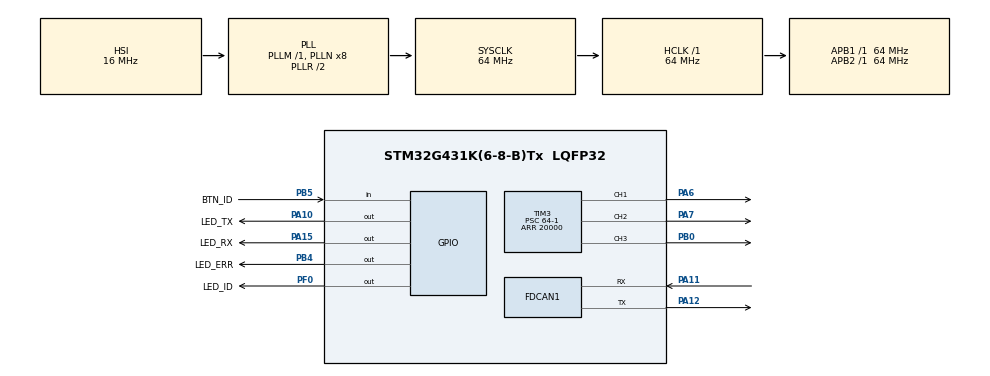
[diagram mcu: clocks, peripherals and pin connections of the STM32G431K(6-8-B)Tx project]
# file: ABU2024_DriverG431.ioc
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FDCAN1.AutoRetransmission=ENABLE
FDCAN1.CalculateBaudRateNominal=1000000
FDCAN1.CalculateTimeBitNominal=1000
FDCAN1.CalculateTimeQuantumNominal=62.5
FDCAN1.DataTimeSeg1=1
FDCAN1.DataTimeSeg2=1
FDCAN1.NominalPrescaler=4
FDCAN1.NominalTimeSeg1=11
FDCAN1.NominalTimeSeg2=4
FDCAN1.StdFiltersNbr=2
Mcu.Family=STM32G4
Mcu.Name=STM32G431K(6-8-B)Tx
Mcu.Package=LQFP32
NVIC.FDCAN1_IT0_IRQn=true\:0\:0\:false\:false\:true\:true\:true\:true
NVIC.FDCAN1_IT1_IRQn=true\:0\:0\:false\:false\:true\:true\:true\:true
NVIC.PriorityGroup=NVIC_PRIORITYGROUP_4
NVIC.TIM7_IRQn=true\:0\:0\:false\:false\:true\:true\:true\:true
PA10.GPIO_Label=LED_TX
PA10.Signal=GPIO_Output
PA11.GPIO_Speed=GPIO_SPEED_FREQ_HIGH
PA11.Mode=FDCAN_Activate
PA11.Signal=FDCAN1_RX
PA12.GPIO_Speed=GPIO_SPEED_FREQ_HIGH
PA12.Mode=FDCAN_Activate
PA12.Signal=FDCAN1_TX
PA13.Mode=Serial_Wire
PA13.Signal=SYS_JTMS-SWDIO
PA14.Mode=Serial_Wire
PA14.Signal=SYS_JTCK-SWCLK
PA15.GPIO_Label=LED_RX
PA15.Signal=GPIO_Output
PA6.Signal=S_TIM3_CH1
PA7.Signal=S_TIM3_CH2
PA8.Signal=S_TIM1_CH1
PA9.Signal=S_TIM1_CH2
PB0.Signal=S_TIM3_CH3
PB4.GPIO_Label=LED_ERR
PB4.Signal=GPIO_Output
PB5.GPIO_Label=BTN_ID
PB5.GPIO_PuPd=GPIO_PULLUP
PB5.Signal=GPIO_Input
PF0-OSC_IN.GPIO_Label=LED_ID
PF0-OSC_IN.Signal=GPIO_Output
ProjectManager.HeapSize=0x200
ProjectManager.StackSize=0x400
ProjectManager.TargetToolchain=STM32CubeIDE
RCC.ADC12Freq_Value=64000000
RCC.AHBFreq_Value=64000000
RCC.APB1Freq_Value=64000000
RCC.APB1TimFreq_Value=64000000
RCC.APB2Freq_Value=64000000
RCC.APB2TimFreq_Value=64000000
RCC.CortexFreq_Value=64000000
RCC.EXTERNAL_CLOCK_VALUE=12288000
RCC.HCLKFreq_Value=64000000
RCC.HSE_VALUE=8000000
RCC.HSI48_VALUE=48000000
RCC.HSI_VALUE=16000000
RCC.LSE_VALUE=32768
RCC.SYSCLKFreq_VALUE=64000000
RCC.SYSCLKSource=RCC_SYSCLKSOURCE_PLLCLK
RCC.USBFreq_Value=64000000
RCC.VCOOutputFreq_Value=128000000
SH.S_TIM1_CH1.0=TIM1_CH1
SH.S_TIM1_CH2.0=TIM1_CH2
SH.S_TIM3_CH1.0=TIM3_CH1,PWM Generation1 CH1
SH.S_TIM3_CH2.0=TIM3_CH2,PWM Generation2 CH2
SH.S_TIM3_CH3.0=TIM3_CH3,PWM Generation3 CH3
TIM3.Channel-PWM\ Generation1\ CH1=TIM_CHANNEL_1
TIM3.Channel-PWM\ Generation2\ CH2=TIM_CHANNEL_2
TIM3.Channel-PWM\ Generation3\ CH3=TIM_CHANNEL_3
TIM3.PeriodNoDither=20000
TIM3.Prescaler=64-1
TIM3.PulseNoDither_1=1000
TIM3.PulseNoDither_2=1000
TIM3.PulseNoDither_3=1000
TIM7.PeriodNoDither=1000
TIM7.Prescaler=64-1
VP_SYS_VS_DBSignals.Mode=DisableDeadBatterySignals
VP_TIM7_VS_ClockSourceINT.Mode=Enable_Timer
board=custom

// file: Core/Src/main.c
/* USER CODE BEGIN Header */
/**
  ******************************************************************************
  * @file           : main.c
  * @brief          : Main program body
  ******************************************************************************
  * @attention
  *
  * Copyright (c) 2023 STMicroelectronics.
  * All rights reserved.
  *
  * This software is licensed under terms that can be found in the LICENSE file
  * in the root directory of this software component.
  * If no LICENSE file comes with this software, it is provided AS-IS.
  *
  ******************************************************************************
  */
/* USER CODE END Header */
#include "main.h"
#include "fdcan.h"
#include "tim.h"
#include "gpio.h"

/* USER CODE BEGIN Includes */
#include "can_smbus/can_smbus.hpp"
#include "user_task.h"

/* USER CODE END Includes */

void SystemClock_Config(void);

/* USER CODE BEGIN 0 */
void HAL_TIM_PeriodElapsedCallback(TIM_HandleTypeDef *htim)
{
  __CSTimer_interrupt(htim);
}
/* USER CODE END 0 */

int main(void)
{

  /* MCU Configuration--------------------------------------------------------*/

  /* Reset of all peripherals, Initializes the Flash interface and the Systick. */
  HAL_Init();

  /* Configure the system clock */
  SystemClock_Config();

  /* USER CODE BEGIN SysInit */
  MX_GPIO_Init();
  CSId_init();
  /* USER CODE END SysInit */

  /* Initialize all configured peripherals */
  MX_GPIO_Init();
  MX_FDCAN1_Init();
  MX_TIM7_Init();
  MX_TIM3_Init();
  /* USER CODE BEGIN 2 */
  CSLed_init();
  CSTimer_init();
  CSIo_init();
  UserTask_setup();
  /* USER CODE END 2 */

  /* Infinite loop */
  /* USER CODE BEGIN WHILE */
  while (1)
  {
    CSType_bool_t is_safety_on = CSIo_isSafetyOn();
    if(is_safety_on == 0)
    {
      UserTask_loop();
    }else{
      UserTask_unsafeLoop();
    }

    CSLed_process(is_safety_on);
    /* USER CODE END WHILE */

  }
}

void SystemClock_Config(void)
{
  RCC_OscInitTypeDef RCC_OscInitStruct = {0};
  RCC_ClkInitTypeDef RCC_ClkInitStruct = {0};

  /** Configure the main internal regulator output voltage
  */
  HAL_PWREx_ControlVoltageScaling(PWR_REGULATOR_VOLTAGE_SCALE1);

  /** Initializes the RCC Oscillators according to the specified parameters
  * in the RCC_OscInitTypeDef structure.
  */
  RCC_OscInitStruct.OscillatorType = RCC_OSCILLATORTYPE_HSI;
  RCC_OscInitStruct.HSIState = RCC_HSI_ON;
  RCC_OscInitStruct.HSICalibrationValue = RCC_HSICALIBRATION_DEFAULT;
  RCC_OscInitStruct.PLL.PLLState = RCC_PLL_ON;
  RCC_OscInitStruct.PLL.PLLSource = RCC_PLLSOURCE_HSI;
  RCC_OscInitStruct.PLL.PLLM = RCC_PLLM_DIV1;
  RCC_OscInitStruct.PLL.PLLN = 8;
  RCC_OscInitStruct.PLL.PLLP = RCC_PLLP_DIV2;
  RCC_OscInitStruct.PLL.PLLQ = RCC_PLLQ_DIV2;
  RCC_OscInitStruct.PLL.PLLR = RCC_PLLR_DIV2;
  if (HAL_RCC_OscConfig(&RCC_OscInitStruct) != HAL_OK)
  {
    Error_Handler();
  }

  /** Initializes the CPU, AHB and APB buses clocks
  */
  RCC_ClkInitStruct.ClockType = RCC_CLOCKTYPE_HCLK|RCC_CLOCKTYPE_SYSCLK
                              |RCC_CLOCKTYPE_PCLK1|RCC_CLOCKTYPE_PCLK2;
  RCC_ClkInitStruct.SYSCLKSource = RCC_SYSCLKSOURCE_PLLCLK;
  RCC_ClkInitStruct.AHBCLKDivider = RCC_SYSCLK_DIV1;
  RCC_ClkInitStruct.APB1CLKDivider = RCC_HCLK_DIV1;
  RCC_ClkInitStruct.APB2CLKDivider = RCC_HCLK_DIV1;

  if (HAL_RCC_ClockConfig(&RCC_ClkInitStruct, FLASH_LATENCY_2) != HAL_OK)
  {
    Error_Handler();
  }
}

void Error_Handler(void)
{
  /* USER CODE BEGIN Error_Handler_Debug */
  CSLed_hungUp();
  /* User can add his own implementation to report the HAL error return state */
  __disable_irq();
  while (1)
  {
  }
  /* USER CODE END Error_Handler_Debug */
}
